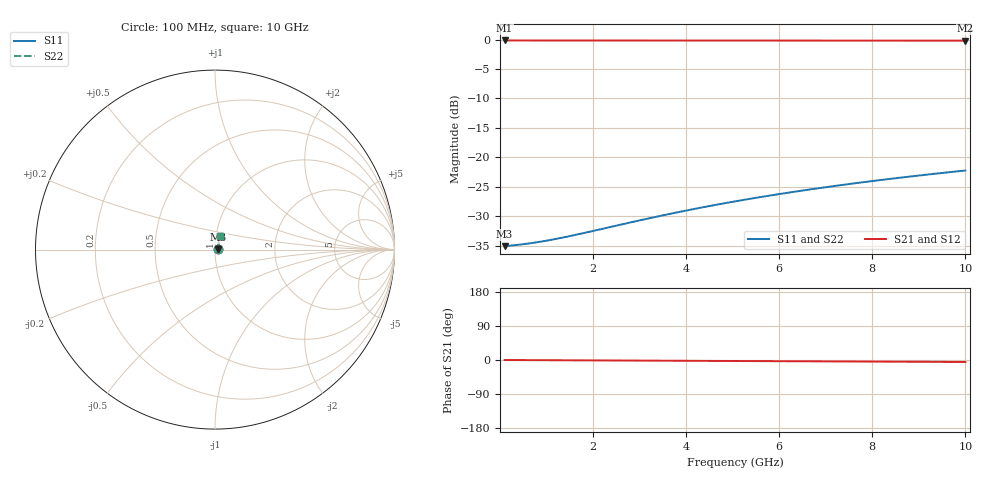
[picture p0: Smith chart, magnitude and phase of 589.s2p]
# Hz S RI R 50.00
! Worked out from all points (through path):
!   100 points, 100 MHz to 10 GHz, reference 50 ohm
!   highest |S21| = -0.15 dB at 100 MHz (marker M1); lowest = -0.2 dB at 10 GHz (marker M2)
!   lowest |S11| = -35.1 dB at 100 MHz (marker M3), VSWR 1.04, Z = 51.8 + j0.0764 ohm
!   |S11| at or under -10 dB: start of sweep to end of sweep
!   |S22| runs from -35.1 to -22.2 dB; largest |S21 - S12| = 0
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1e8  0.0177 0.000737  0.9823 -0.000903  0.9823 -0.000903  0.0177 0.000737
5e8  0.018 0.00368  0.982 -0.00451  0.982 -0.00451  0.018 0.00368
7e8  0.0181 0.00515  0.9819 -0.00631  0.9819 -0.00631  0.0181 0.00515
9e8  0.0182 0.00663  0.9818 -0.00812  0.9818 -0.00812  0.0182 0.00663
1.1e9  0.0183 0.0081  0.9817 -0.00992  0.9817 -0.00992  0.0183 0.0081
1.3e9  0.0184 0.00957  0.9816 -0.0117  0.9816 -0.0117  0.0184 0.00957
1.5e9  0.0185 0.011  0.9815 -0.0135  0.9815 -0.0135  0.0185 0.011
1.8e9  0.0186 0.0132  0.9814 -0.0162  0.9814 -0.0162  0.0186 0.0132
2.8e9  0.0191 0.0206  0.9809 -0.0252  0.9809 -0.0252  0.0191 0.0206
3.4e9  0.0194 0.025  0.9806 -0.0306  0.9806 -0.0306  0.0194 0.025
3.8e9  0.0196 0.0279  0.9803 -0.0342  0.9803 -0.0342  0.0196 0.0279
4.2e9  0.0199 0.0309  0.9801 -0.0378  0.9801 -0.0378  0.0199 0.0309
4.6e9  0.0202 0.0338  0.9798 -0.0414  0.9798 -0.0414  0.0202 0.0338
5.1e9  0.0206 0.0374  0.9794 -0.0459  0.9794 -0.0459  0.0206 0.0374
5.5e9  0.0209 0.0404  0.9791 -0.0495  0.9791 -0.0495  0.0209 0.0404
5.9e9  0.0212 0.0433  0.9787 -0.0531  0.9787 -0.0531  0.0212 0.0433
6.3e9  0.0216 0.0462  0.9784 -0.0566  0.9784 -0.0566  0.0216 0.0462
6.7e9  0.0219 0.0491  0.978 -0.0602  0.978 -0.0602  0.0219 0.0491
7.5e9  0.0228 0.0549  0.9771 -0.0674  0.9771 -0.0674  0.0228 0.0549
8.4e9  0.0238 0.0615  0.9761 -0.0754  0.9761 -0.0754  0.0238 0.0615
9.2e9  0.0248 0.0672  0.9751 -0.0825  0.9751 -0.0825  0.0248 0.0672
1e10  0.0259 0.073  0.974 -0.0896  0.974 -0.0896  0.0259 0.073
